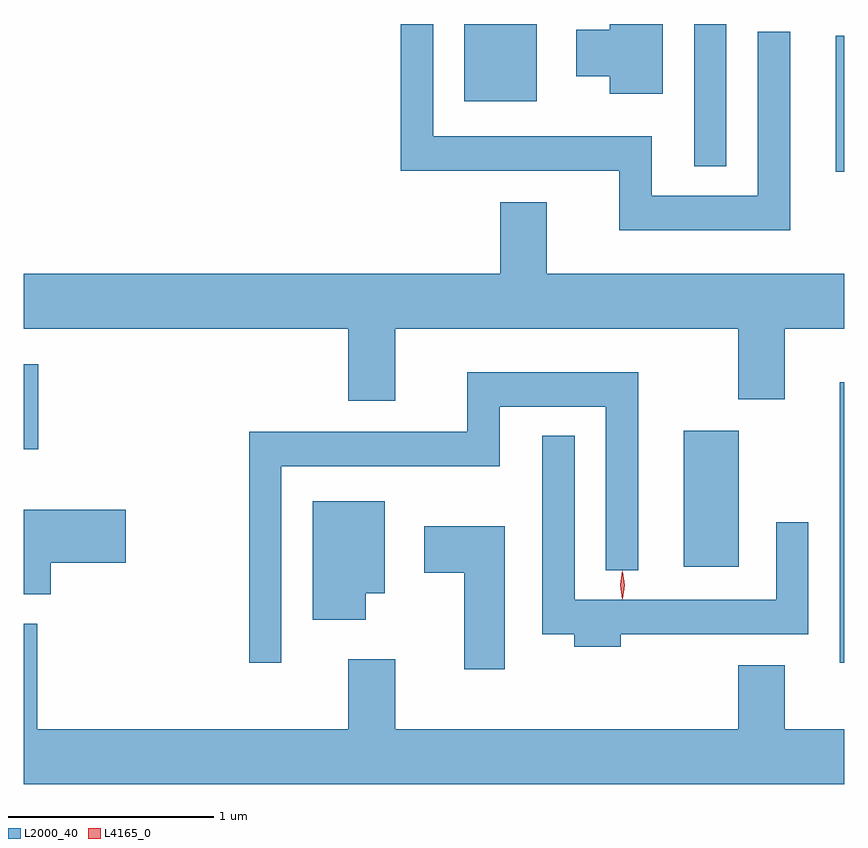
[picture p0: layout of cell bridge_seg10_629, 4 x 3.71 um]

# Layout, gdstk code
import gdstk
lib = gdstk.Library(unit=1e-6, precision=1e-09)
def R(c, l, rs):  # rectangles x0, y0, x1, y1
    for r in rs: c.add(gdstk.rectangle(r[:2], r[2:], *l))
def P(c, l, *ps):  # polygons
    for p in ps: c.add(gdstk.Polygon(p, *l))
L2000_40 = (2000, 40)
L4165_0 = (4165, 0)

bridge_seg10_629 = lib.new_cell('bridge_seg10_629')
R(bridge_seg10_629, L2000_40, [(1044.076,2125.608,1044.098,2126.974), (1043.316,2126.076,1043.584,2126.739), (1040.098,2126.648,1040.169,2127.064), (1044.056,2128.001,1044.098,2128.664), (1043.366,2128.028,1043.524,2128.722), (1042.246,2128.346,1042.599,2128.722)])
P(bridge_seg10_629, L2000_40, [(1043.214,2128.722),(1042.956,2128.722),(1042.956,2128.694),(1042.791,2128.694),(1042.791,2128.466),(1042.956,2128.466),(1042.956,2128.381),(1043.214,2128.381)],
  [(1043.834,2128.683),(1043.676,2128.683),(1043.676,2127.884),(1043.159,2127.884),(1043.159,2128.174),(1042.094,2128.174),(1042.094,2128.722),(1041.936,2128.722),(1041.936,2128.006),(1043.001,2128.006),(1043.001,2127.716),(1043.834,2127.716)],
  [(1040.098,2127.236),(1041.681,2127.236),(1041.681,2126.886),(1041.909,2126.886),(1041.909,2127.236),(1043.581,2127.236),(1043.581,2126.891),(1043.809,2126.891),(1043.809,2127.236),(1044.098,2127.236),(1044.098,2127.504),(1042.649,2127.504),(1042.649,2127.854),(1042.421,2127.854),(1042.421,2127.504),(1040.098,2127.504)],
  [(1041.354,2126.566),(1042.419,2126.566),(1042.419,2126.856),(1042.936,2126.856),(1042.936,2126.058),(1043.094,2126.058),(1043.094,2127.024),(1042.261,2127.024),(1042.261,2126.734),(1041.196,2126.734),(1041.196,2125.608),(1041.354,2125.608)],
  [(1043.009,2125.746),(1043.924,2125.746),(1043.924,2126.293),(1043.766,2126.293),(1043.766,2125.914),(1042.784,2125.914),(1042.784,2126.713),(1042.626,2126.713),(1042.626,2125.746),(1042.781,2125.746),(1042.781,2125.686),(1043.009,2125.686)],
  [(1041.764,2125.946),(1041.859,2125.946),(1041.859,2126.394),(1041.506,2126.394),(1041.506,2125.816),(1041.764,2125.816)],
  [(1040.229,2126.096),(1040.594,2126.096),(1040.594,2126.354),(1040.098,2126.354),(1040.098,2125.941),(1040.229,2125.941)],
  [(1042.444,2126.274),(1042.051,2126.274),(1042.051,2126.046),(1042.246,2126.046),(1042.246,2125.576),(1042.444,2125.576)],
  [(1044.098,2125.284),(1043.809,2125.284),(1043.809,2125.594),(1043.581,2125.594),(1043.581,2125.284),(1041.909,2125.284),(1041.909,2125.624),(1041.681,2125.624),(1041.681,2125.284),(1040.164,2125.284),(1040.164,2125.798),(1040.098,2125.798),(1040.098,2125.016),(1044.098,2125.016)])
P(bridge_seg10_629, L4165_0, [(1043.016,2125.917),(1043.016,2125.918),(1043.006,2125.987),(1043.016,2126.056),(1043.016,2126.056),(1043.017,2126.056),(1043.026,2125.987),(1043.017,2125.918)],
  [(1043.017,2125.919),(1043.017,2125.92),(1043.007,2125.986),(1043.017,2126.052),(1043.017,2126.053),(1043.018,2126.052),(1043.027,2125.986),(1043.018,2125.92)])

lib.write_gds('bridge_seg10_629.gds')
